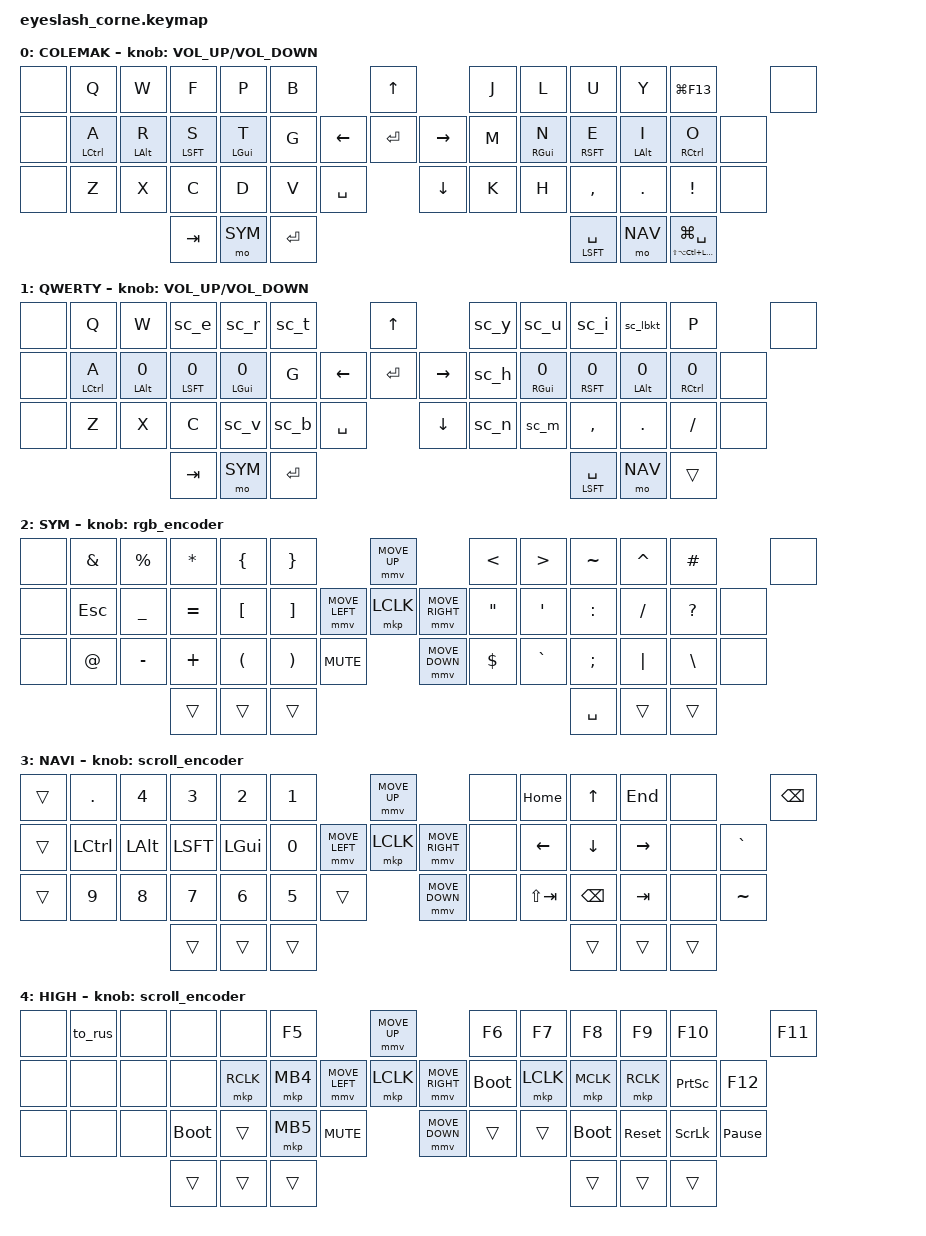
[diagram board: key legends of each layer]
#define ZMK_POINTING_DEFAULT_MOVE_VAL 1200  // 600
#define ZMK_POINTING_DEFAULT_SCRL_VAL 25   // 10

#include <input/processors.dtsi>
#include <zephyr/dt-bindings/input/input-event-codes.h>
#include <behaviors.dtsi>
#include <dt-bindings/zmk/bt.h>
#include <dt-bindings/zmk/ext_power.h>
#include <dt-bindings/zmk/keys.h>
#include <dt-bindings/zmk/pointing.h>
#include <dt-bindings/zmk/outputs.h>
#include <dt-bindings/zmk/rgb.h>

// QWERTY (RU) layer shortcuts: while Cmd/Ctrl/Alt is held, a key sends the
// Colemak key from the same position, so shortcuts match the EN layer.
// Shift alone is not in the mask, so Shift+letter still types Russian capitals.
#define SC_MODS (MOD_LGUI|MOD_RGUI|MOD_LCTL|MOD_RCTL|MOD_LALT|MOD_RALT)
// keys whose Alt variant types ё/ъ/щ only switch to Colemak on Cmd/Ctrl
#define SC_MODS_NO_ALT (MOD_LGUI|MOD_RGUI|MOD_LCTL|MOD_RCTL)

#define MORPH_CORE compatible = "zmk,behavior-mod-morph"; #binding-cells = <0>
// same timing as the global &mt below
#define HRM_CORE compatible = "zmk,behavior-hold-tap"; #binding-cells = <2>; \
    flavor = "balanced"; tapping-term-ms = <200>; require-prior-idle-ms = <150>

#define SC_KEY(name, ru, en) \
    name: name { MORPH_CORE; bindings = <&kp ru>, <&kp en>; mods = <SC_MODS>; keep-mods = <SC_MODS>; };
#define SC_ALT_KEY(name, ru_alt, en) \
    name: name { MORPH_CORE; bindings = <&ru_alt>, <&kp en>; mods = <SC_MODS_NO_ALT>; keep-mods = <SC_MODS_NO_ALT>; };
#define SC_HRM(name, morph) \
    name: name { HRM_CORE; bindings = <&kp>, <&morph>; };

// home row mods for qwerty
#define QH_A &mt LCTL A
#define QH_S &hm_s LALT 0
#define QH_D &hm_d LSFT 0
#define QH_F &hm_f LGUI 0
#define QH_J &hm_j RGUI 0
#define QH_K &hm_k RSFT 0
#define QH_L &hm_l LALT 0
#define QH_SEMI &hm_semi RCTL 0

// home row mods COLEMAK
#define HOME_A &mt LCTL A
#define HOME_R &mt LALT R
#define HOME_S &mt LSFT S
#define HOME_T &mt LGUI T
#define HOME_N &mt RGUI N
#define HOME_E &mt RSFT E
#define HOME_I &mt LALT I
#define HOME_O &mt RCTL O

#define HYPER &mt LS(LA(LC(LGUI))) LG(SPACE)

#define COLEMAK 0
#define QWERTY  1
#define SYM 2
#define NAV 3
#define TRI 4

#define _____ &none

&mmv_input_listener { input-processors = <&zip_xy_scaler 2 1>; };

&msc_input_listener { input-processors = <&zip_scroll_scaler 2 1>; };

&msc {
    acceleration-exponent = <1>;      // 0
    time-to-max-speed-ms = <100>;       // 300
    delay-ms = <0>;                   // 0
};

&mmv {
    time-to-max-speed-ms = <500>;
    acceleration-exponent = <1>;
    trigger-period-ms = <16>;
};

&mt {
    flavor = "balanced";
    require-prior-idle-ms = <150>;
};

/ {
    conditional_layers {
        compatible = "zmk,conditional-layers";
        tri_layer {
            if-layers = <SYM NAV>;
            then-layer = <TRI>;
        };
    };
};

/ {
    macros {
        to_rus: to_rus {
            compatible = "zmk,behavior-macro";
            #binding-cells = <0>;
            bindings
                = <&tog QWERTY>
                , <&macro_press &kp LCTL>
                , <&macro_tap &kp SPACE>
                , <&macro_pause_for_release>
                , <&macro_release &kp LCTL>
                ;
        };
    };
};

/ {
    behaviors {
        td0: td0 {
            compatible = "zmk,behavior-tap-dance";
            display-name = "Shift/Caps Lock Tap Dance";
            #binding-cells = <0>;
            bindings = <&kp LEFT_SHIFT>, <&kp CAPS>;
        };
        rus_e: rus_e {
            compatible = "zmk,behavior-mod-morph";
            #binding-cells = <0>;
            bindings = <&kp T>, <&kp SQT>;
            mods = <(MOD_RALT|MOD_LALT)>;
        };
        // мягкий - твердый знак
        rus_mz: rus_mz {
            compatible = "zmk,behavior-mod-morph";
            #binding-cells = <0>;
            bindings = <&kp M>, <&kp RBKT>;
            mods = <(MOD_RALT|MOD_LALT)>;
        };
        // Ш Щ
        rus_sh: rus_sh {
            compatible = "zmk,behavior-mod-morph";
            #binding-cells = <0>;
            bindings = <&kp I>, <&kp O>;
            mods = <(MOD_RALT|MOD_LALT)>;
        };

        // QWERTY keys that differ from Colemak at the same position
        SC_KEY(sc_e, E, F)
        SC_KEY(sc_r, R, P)
        SC_KEY(sc_y, Y, J)
        SC_KEY(sc_u, U, L)
        SC_KEY(sc_lbkt, LBKT, Y)
        SC_KEY(sc_h, H, M)
        SC_KEY(sc_v, V, D)
        SC_KEY(sc_b, B, V)
        SC_KEY(sc_n, N, K)
        SC_ALT_KEY(sc_t, rus_e, B)
        SC_ALT_KEY(sc_i, rus_sh, U)
        SC_ALT_KEY(sc_m, rus_mz, H)

        // home row: tap goes through the morph above
        SC_KEY(sc_s, S, R)
        SC_KEY(sc_d, D, S)
        SC_KEY(sc_f, F, T)
        SC_KEY(sc_j, J, N)
        SC_KEY(sc_k, K, E)
        SC_KEY(sc_l, L, I)
        SC_KEY(sc_semi, SEMI, O)
        SC_HRM(hm_s, sc_s)
        SC_HRM(hm_d, sc_d)
        SC_HRM(hm_f, sc_f)
        SC_HRM(hm_j, sc_j)
        SC_HRM(hm_k, sc_k)
        SC_HRM(hm_l, sc_l)
        SC_HRM(hm_semi, sc_semi)
    };

    rgb_encoder: rgb_encoder {
        compatible = "zmk,behavior-sensor-rotate";
        #sensor-binding-cells = <0>;
        bindings = <&rgb_ug RGB_BRI>, <&rgb_ug RGB_BRD>;
    };

    scroll_encoder: scroll_encoder {
        compatible = "zmk,behavior-sensor-rotate";
        #sensor-binding-cells = <0>;
        bindings = <&msc SCRL_DOWN>, <&msc SCRL_UP>;
        tap-ms = <100>;
    };

    keymap {
        compatible = "zmk,keymap";

        default_layer {
            display-name = "COLEMAK";
            bindings = <
_____  &kp Q    &kp W      &kp F     &kp P   &kp B                              &kp UP                &kp J        &kp L   &kp U      &kp Y    &kp LG(F13)     _____
_____  HOME_A   HOME_R     HOME_S    HOME_T  &kp G                    &kp LEFT  &kp ENTER  &kp RIGHT  &kp M        HOME_N  HOME_E     HOME_I   HOME_O    _____
_____  &kp Z    &kp X      &kp C     &kp D   &kp V       &kp SPACE              &kp DOWN              &kp K        &kp H   &kp COMMA  &kp DOT  &kp EXCL  _____
                             &kp TAB   &mo SYM  &kp ENTER                                                   &mt LSFT SPACE       &mo NAV   HYPER
            >;
            sensor-bindings = <&inc_dec_kp C_VOLUME_UP C_VOLUME_DOWN>;
        };

        qwerty_layer {
            display-name = "QWERTY";
            bindings = <
_____ &kp Q  &kp W      &sc_e     &sc_r  &sc_t                              &kp UP                &sc_y        &sc_u    &sc_i      &sc_lbkt    &kp P     _____
_____ QH_A   QH_S       QH_D      QH_F   &kp G                    &kp LEFT  &kp ENTER  &kp RIGHT  &sc_h        QH_J     QH_K       QH_L        QH_SEMI   _____
_____ &kp Z  &kp X      &kp C     &sc_v  &sc_b       &kp SPACE              &kp DOWN              &sc_n        &sc_m    &kp COMMA  &kp DOT     &kp FSLH  _____
                             &kp TAB   &mo SYM  &kp ENTER                                                &mt LSFT SPACE  &mo NAV  &trans
            >;
            sensor-bindings = <&inc_dec_kp C_VOLUME_UP C_VOLUME_DOWN>;
        };

        sym_layer {
            display-name = "SYM";
            bindings = <
_____  &kp AMPS  &kp PRCNT  &kp ASTRK  &kp LBRC  &kp RBRC                                        &mmv MOVE_UP                        &kp LT    &kp GT     &kp TILDE   &kp CARET   &kp HASH   _____
_____  &kp ESC   &kp UNDER  &kp EQUAL  &kp LBKT  &kp RBKT                           &mmv MOVE_LEFT  &mkp LCLK       &mmv MOVE_RIGHT  &kp DQT   &kp SQT    &kp COLON   &kp FSLH    &kp QMARK  _____
_____  &kp AT    &kp MINUS  &kp PLUS   &kp LPAR  &kp RPAR    &kp C_MUTE                    &mmv MOVE_DOWN                            &kp DLLR  &kp GRAVE  &kp SEMI    &kp PIPE    &kp BSLH   _____
                                         &trans        &trans        &trans                                                                         &kp SPACE          &trans      &trans
            >;
            sensor-bindings = <&rgb_encoder>;
        };

        nav_layer {
            display-name = "NAVI";
            bindings = <
&trans  &kp DOT     &kp N4      &kp N3    &kp N2    &kp N1                            &mmv MOVE_UP                     &none  &kp HOME  &kp UP     &kp END      &none  &kp BSPC
&trans  &kp LCTL    &kp LALT    &kp LSFT  &kp LGUI  &kp N0            &mmv MOVE_LEFT  &mkp LCLK       &mmv MOVE_RIGHT  &none  &kp LEFT  &kp DOWN   &kp RIGHT  &none  &kp GRAVE
&trans  &kp N9      &kp N8      &kp N7    &kp N6    &kp N5      &trans                &mmv MOVE_DOWN                   &none  &kp LS(TAB)  &kp BSPC   &kp TAB    &none  &kp TILDE
                                    &trans     &trans     &trans                                                            &trans    &trans     &trans
            >;
            sensor-bindings = <&scroll_encoder>;
        };

        layer_3 {
            display-name = "HIGH";
            bindings = <
&none   &to_rus     &none   &none        &none     &kp F5                                  &mmv MOVE_UP                     &kp F6       &kp F7     &kp F8       &kp F9      &kp F10          &kp F11
&none   &none       &none   &none        &mkp RCLK  &mkp MB4                &mmv MOVE_LEFT  &mkp LCLK       &mmv MOVE_RIGHT  &bootloader  &mkp LCLK  &mkp MCLK    &mkp RCLK   &kp PRINTSCREEN  &kp F12
&none   &none       &none   &bootloader  &trans     &mkp MB5  &kp C_MUTE                    &mmv MOVE_DOWN                   &trans       &trans     &bootloader  &sys_reset  &kp SCROLLLOCK   &kp PAUSE_BREAK
                                &trans      &trans      &trans                                                                   &trans       &trans     &trans
            >;
            sensor-bindings = <&scroll_encoder>;
        };

// &trans  &kp N1           &kp N2          &kp N3        &kp N4        &kp N5                                        &mmv MOVE_UP                     &kp N6           &kp N7           &kp N8           &kp N9           &kp N0    &kp BSPC
// &trans  &bt BT_CLR_ALL   &bt BT_SEL 0    &bt BT_SEL 1  &bt BT_SEL 2  &bt BT_SEL 3                           &mmv MOVE_LEFT  &mkp LCLK       &mmv MOVE_RIGHT  &kp LEFT         &kp DOWN         &kp UP           &kp RIGHT        &kp HOME  &kp PG_UP
// &trans  &rgb_ug RGB_OFF  &rgb_ug RGB_ON  &trans        &trans        &rgb_ug RGB_EFF &kp C_MUTE                    &mmv MOVE_DOWN                   &rgb_ug RGB_EFR  &rgb_ug RGB_SPI  &rgb_ug RGB_BRI  &rgb_ug RGB_BRD  &kp END   &kp PG_DN

    };
};
